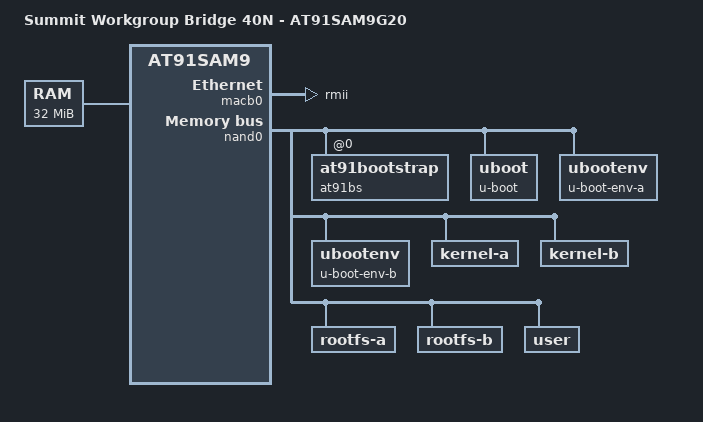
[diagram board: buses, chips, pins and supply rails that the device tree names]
// SPDX-License-Identifier: GPL-2.0
/*
 * at91-wb40n.dts - Device Tree include file for WB40N CPU module
 *
 * Copyright (C) 2020 Ezurio
 *
 */

#include "at91sam9g20.dtsi"

/ {
	model = "Summit Workgroup Bridge 40N - AT91SAM9G20";
	compatible = "summit,wb40n", "atmel,at91sam9g20", "atmel,at91sam9";

	chosen {
		stdout-path = "serial0:115200n8";
	};

	memory {
		reg = <0x20000000 0x2000000>;
	};

	ahb {
		apb {
			shdwc@fffffd10 {
				atmel,wakeup-mode = "low";
			};

			watchdog@fffffd40 {
				atmel,idle-halt;
				status = "okay";
			};

			rtc@fffffd20 {
				status = "okay";
			};

			pinctrl@fffff400 {
				board {
					pinctrl_mmc0_cd: mmc0_cd {
						atmel,pins =
							<AT91_PIOC 5 AT91_PERIPH_GPIO AT91_PINCTRL_PULL_UP_DEGLITCH>; /* PC5 GPIO with pullup deglitch */
					};

					pinctrl_usba_vbus: usba_vbus {
						atmel,pins =
							<AT91_PIOC 21 AT91_PERIPH_GPIO AT91_PINCTRL_DEGLITCH>; /* PC21 GPIO with deglitch */
					};

					pinctrl_usb_vbus: usb_vbus {
						atmel,pins =
							<AT91_PIOC 0 AT91_PERIPH_GPIO AT91_PINCTRL_NONE>,
							<AT91_PIOC 1 AT91_PERIPH_GPIO AT91_PINCTRL_DEGLITCH>;
					};

					pinctrl_ssd40: ssd40 {
						atmel,pins =
							<AT91_PIOB 13 AT91_PERIPH_GPIO AT91_PINCTRL_PULL_UP>,
							<AT91_PIOB 31 AT91_PERIPH_GPIO AT91_PINCTRL_PULL_UP>;
					};

					pinctrl_leds: leds {
						atmel,pins =
							<AT91_PIOA 25 AT91_PERIPH_GPIO AT91_PINCTRL_NONE>,
							<AT91_PIOA 26 AT91_PERIPH_GPIO AT91_PINCTRL_NONE>,
							<AT91_PIOA 27 AT91_PERIPH_GPIO AT91_PINCTRL_NONE>,
							<AT91_PIOA 28 AT91_PERIPH_GPIO AT91_PINCTRL_NONE>,
							<AT91_PIOA 29 AT91_PERIPH_GPIO AT91_PINCTRL_NONE>;
					};
				};
			};
		};
	};

	leds {
		pinctrl-names = "default";
		pinctrl-0 = <&pinctrl_leds>;

		compatible = "gpio-leds";

		status = "disabled";

		stat0 {
			label = "stat0";
			gpios = <&pioA 28 GPIO_ACTIVE_LOW>;
			default-state = "off";
		};

		stat1 {
			label = "stat1";
			gpios = <&pioA 29 GPIO_ACTIVE_LOW>;
			default-state = "off";
		};

		led0 {
			label = "wb50n:blue:led0";
			gpios = <&pioA 25 GPIO_ACTIVE_LOW>;
			default-state = "off";
		};

		led1 {
			label = "wb50n:green:led1";
			gpios = <&pioA 26 GPIO_ACTIVE_LOW>;
			default-state = "off";
		};

		led2 {
			label = "wb50n:red:led2";
			gpios = <&pioA 27 GPIO_ACTIVE_LOW>;
			default-state = "off";
		};
	};
};

&slow_xtal {
	clock-frequency = <32768>;
};

&main_xtal {
	clock-frequency = <18432000>;
};

&mmc0 {
	pinctrl-names = "default";
	pinctrl-0 = <
		&pinctrl_mmc0_clk
		&pinctrl_mmc0_slot0_cmd_dat0 &pinctrl_mmc0_slot0_dat1_3
		&pinctrl_mmc0_cd &pinctrl_ssd40>;

	slot@0 {
		reg = <0>;
		bus-width = <4>;
		cd-gpios = <&pioC 5 GPIO_ACTIVE_HIGH>;
	};

	slot@1 {
		reg = <1>;
		bus-width = <4>;
	};
};

&usart0 {
	pinctrl-names = "default";
	pinctrl-0 = <&pinctrl_usart0 &pinctrl_usart0_rts &pinctrl_usart0_cts
		 &pinctrl_usart0_dtr_dsr &pinctrl_usart0_dcd &pinctrl_usart0_ri>;
};

&usart1 {
	pinctrl-names = "default";
	pinctrl-0 =	<&pinctrl_usart1 &pinctrl_usart1_rts &pinctrl_usart1_cts>;
};

&macb0 {
	pinctrl-names = "default";
	pinctrl-0 =	<&pinctrl_macb_rmii>;

	phy-mode = "rmii";

};

&dbgu {
	bootph-all;
};

&nand0 {
	rb-gpios = <&pioC 13 GPIO_ACTIVE_HIGH>;
	cs-gpios = <&pioC 14 GPIO_ACTIVE_HIGH>;

	nand-bus-width = <8>;
	nand-ecc-mode = "soft";
	label = "atmel_nand";

	nand-on-flash-bbt;

	status = "okay";

	at91bootstrap@0 {
		label = "at91bs";
		reg = <0x0 0x20000>;
	};

	uboot@20000 {
		label = "u-boot";
		reg = <0x20000 0x80000>;
	};

	ubootenv@a0000 {
		label = "u-boot-env-a";
		reg = <0xa0000 0x20000>;
	};

	ubootenv@c0000 {
		label = "u-boot-env-b";
		reg = <0xc0000 0x20000>;
	};

	kernel-a@e0000 {
		label = "kernel-a";
		reg = <0xe0000 0x500000>;
	};

	kernel-b@5e0000 {
		label = "kernel-b";
		reg = <0x5e0000 0x500000>;
	};

	rootfs-a@ae0000 {
		label = "rootfs-a";
		reg = <0xae0000 0x3000000>;
	};

	rootfs-b@3ae0000 {
		label = "rootfs-b";
		reg = <0x3ae0000 0x3000000>;
	};

	user@6ae0000 {
		label = "user";
		reg = <0x6ae0000 0x14a0000>;
	};
};

&usb0 {
	pinctrl-names = "default";
	pinctrl-0 = <&pinctrl_usb_vbus>;

	num-ports = <2>;

	atmel,vbus-gpio = <&pioC 0 GPIO_ACTIVE_LOW>;
	atmel,oc-gpio = <&pioC 1 GPIO_ACTIVE_LOW>;
};

&usb1 {
	pinctrl-names = "default";
	pinctrl-0 = <&pinctrl_usba_vbus>;

	atmel,vbus-gpio = <&pioC 21 GPIO_ACTIVE_LOW>;
};
